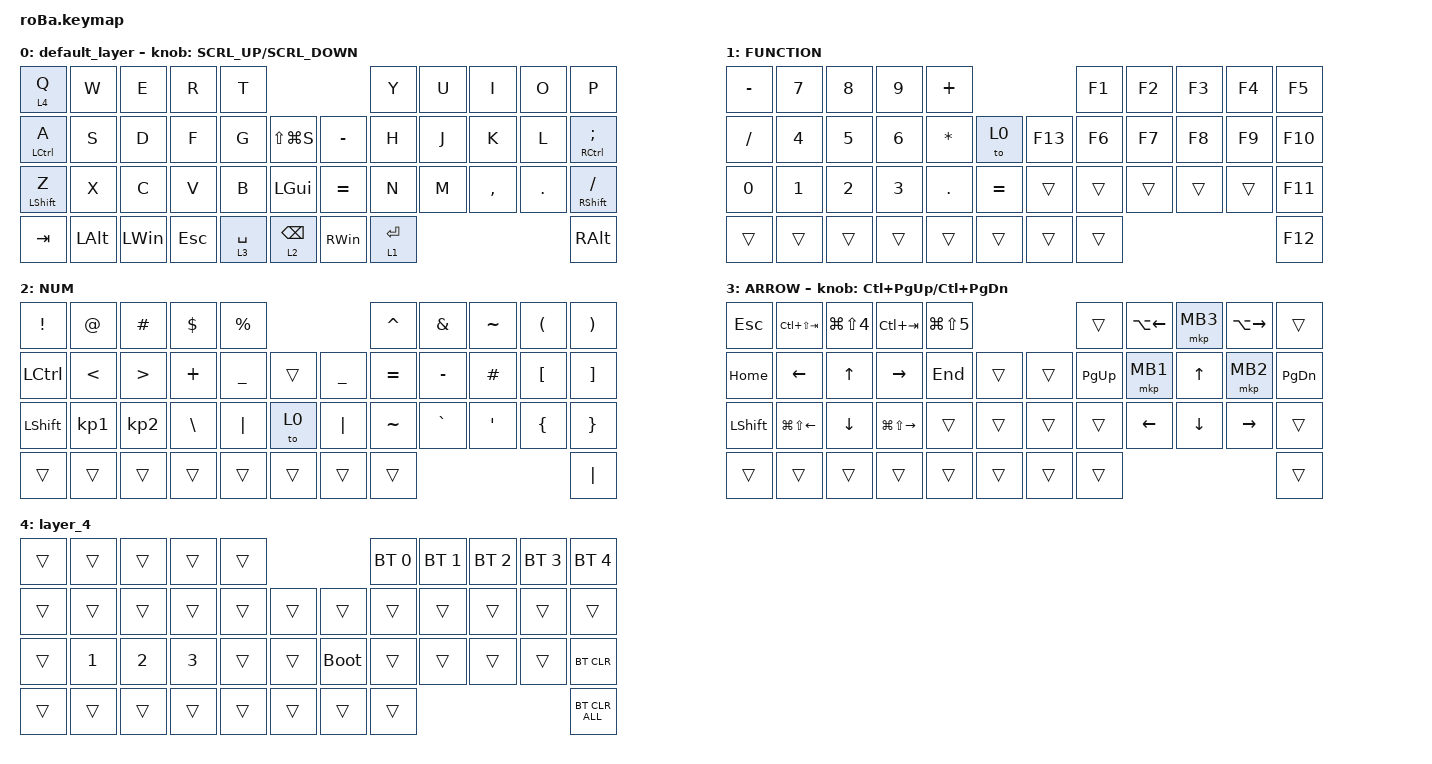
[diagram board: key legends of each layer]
#define ZMK_POINTING_DEFAULT_SCRL_VAL 100

#include <behaviors.dtsi>
#include <dt-bindings/zmk/bt.h>
#include <dt-bindings/zmk/keys.h>
#include <dt-bindings/zmk/pointing.h>

&mt {
    flavor = "balanced";
    quick-tap-ms = <0>;
};

&trackball {
    automouse-layer = <4>;
    scroll-layers = <5>;

    // arrows {
    //     layers = <3>;
    //     bindings =
    //         <&kp RIGHT_ARROW>,
    //         <&kp LEFT_ARROW>,
    //         <&kp UP_ARROW>,
    //         <&kp DOWN_ARROW>;
    //     tick = <10>;
    //     wait-ms = <5>;
    //     tap-ms = <5>;
    // };
};

/ {
    combos {
        compatible = "zmk,combos";

        tab {
            bindings = <&kp TAB>;
            key-positions = <11 12>;
        };

        shift_tab {
            bindings = <&kp LS(TAB)>;
            key-positions = <12 13>;
        };

        double_quotation {
            bindings = <&kp DOUBLE_QUOTES>;
            key-positions = <20 21>;
        };

        quotation {
            bindings = <&kp SQT>;
            key-positions = <19 20>;
        };

        Lang2 {
            bindings = <&kp LANG2>;
            key-positions = <6 7>;
        };

        Lang1 {
            bindings = <&kp LANG1>;
            key-positions = <18 19>;
        };
    };

    macros {
        to_layer_0: to_layer_0 {
            compatible = "zmk,behavior-macro-one-param";
            #binding-cells = <1>;
            bindings = <&to 0 &macro_param_1to1 &kp MACRO_PLACEHOLDER>;
            label = "TO_LAYER_0";
        };
    };

    behaviors {
        lt_to_layer_0: lt_to_layer_0 {
            compatible = "zmk,behavior-hold-tap";
            label = "LAYER_TAP_TO_0";
            bindings = <&mo>, <&to_layer_0>;

            #binding-cells = <2>;
            tapping-term-ms = <200>;
        };

        scroll_up_down: scroll_up_down {
            compatible = "zmk,behavior-sensor-rotate-var";
            label = "SCROLL_UP_DOWN";
            #sensor-binding-cells = <2>;
            bindings = <&msc>, <&msc>;

            tap-ms = <20>;
        };
    };

    keymap {
        compatible = "zmk,keymap";

        default_layer {
            bindings = <
&lt 4 Q           &kp W         &kp E     &kp R       &kp T                                            &kp Y        &kp U  &kp I      &kp O    &kp P
&mt LCTRL A       &kp S         &kp D     &kp F       &kp G        &kp LS(LG(S))        &kp MINUS      &kp H        &kp J  &kp K      &kp L    &mt RCTRL SEMICOLON
&mt LEFT_SHIFT Z  &kp X         &kp C     &kp V       &kp B        &kp LEFT_GUI         &kp EQUAL      &kp N        &kp M  &kp COMMA  &kp DOT  &mt RIGHT_SHIFT SLASH
&kp TAB           &kp LEFT_ALT  &kp LWIN  &kp ESCAPE  &lt 3 SPACE  &lt 2 BACKSPACE      &kp RIGHT_WIN  &lt 1 ENTER                             &kp RIGHT_ALT
            >;

            sensor-bindings = <&scroll_up_down SCRL_UP SCRL_DOWN>;
        };

        FUNCTION {
            bindings = <
&kp MINUS  &kp NUMBER_7  &kp NUMBER_8  &kp NUMBER_9  &kp PLUS                              &kp F1  &kp F2  &kp F3  &kp F4  &kp F5
&kp SLASH  &kp NUMBER_4  &kp N5        &kp NUMBER_6  &kp ASTERISK  &to 0          &kp F13  &kp F6  &kp F7  &kp F8  &kp F9  &kp F10
&kp N0     &kp NUMBER_1  &kp NUMBER_2  &kp NUMBER_3  &kp PERIOD    &kp EQUAL      &trans   &trans  &trans  &trans  &trans  &kp F11
&trans     &trans        &trans        &trans        &trans        &trans         &trans   &trans                          &kp F12
            >;
        };

        NUM {
            bindings = <
&kp EXCLAMATION  &kp AT_SIGN      &kp HASH          &kp DOLLAR  &kp PERCENT                                 &kp CARET  &kp AMPERSAND  &kp TILDE  &kp LEFT_PARENTHESIS  &kp RIGHT_PARENTHESIS
&kp LCTRL        &kp LESS_THAN    &kp GREATER_THAN  &kp PLUS    &kp UNDERSCORE  &trans      &kp UNDERSCORE  &kp EQUAL  &kp MINUS      &kp HASH   &kp LBKT              &kp RBKT
&kp LEFT_SHIFT   &kp KP_NUMBER_1  &kp KP_NUMBER_2   &kp BSLH    &kp PIPE        &to 0       &kp PIPE        &kp TILDE  &kp GRAVE      &kp SQT    &kp LEFT_BRACE        &kp RIGHT_BRACE
&trans           &trans           &trans            &trans      &trans          &trans      &trans          &trans                                                     &kp PIPE
            >;
        };

        ARROW {
            bindings = <
&kp ESCAPE      &kp LC(LS(TAB))         &kp LG(LS(NUMBER_4))  &kp LC(TAB)              &kp LG(LS(N5))                      &trans       &kp LA(LEFT_ARROW)  &mkp MB3        &kp LA(RIGHT_ARROW)  &trans
&kp HOME        &kp LEFT_ARROW          &kp UP_ARROW          &kp RIGHT_ARROW          &kp END         &trans      &trans  &kp PAGE_UP  &mkp MB1            &kp UP_ARROW    &mkp MB2             &kp PAGE_DOWN
&kp LEFT_SHIFT  &kp LG(LS(LEFT_ARROW))  &kp DOWN              &kp LG(LS(RIGHT_ARROW))  &trans          &trans      &trans  &trans       &kp LEFT            &kp DOWN_ARROW  &kp RIGHT            &trans
&trans          &trans                  &trans                &trans                   &trans          &trans      &trans  &trans                                                                &trans
            >;

            sensor-bindings = <&inc_dec_kp LC(PAGE_UP) LC(PAGE_DOWN)>;
        };

        layer_4 {
            bindings = <
&trans  &trans        &trans        &trans        &trans                           &bt BT_SEL 0  &bt BT_SEL 1  &bt BT_SEL 2  &bt BT_SEL 3  &bt BT_SEL 4
&trans  &trans        &trans        &trans        &trans  &trans      &trans       &trans        &trans        &trans        &trans        &trans
&trans  &kp NUMBER_1  &kp NUMBER_2  &kp NUMBER_3  &trans  &trans      &bootloader  &trans        &trans        &trans        &trans        &bt BT_CLR
&trans  &trans        &trans        &trans        &trans  &trans      &trans       &trans                                                  &bt BT_CLR_ALL
            >;
        };
    };
};
